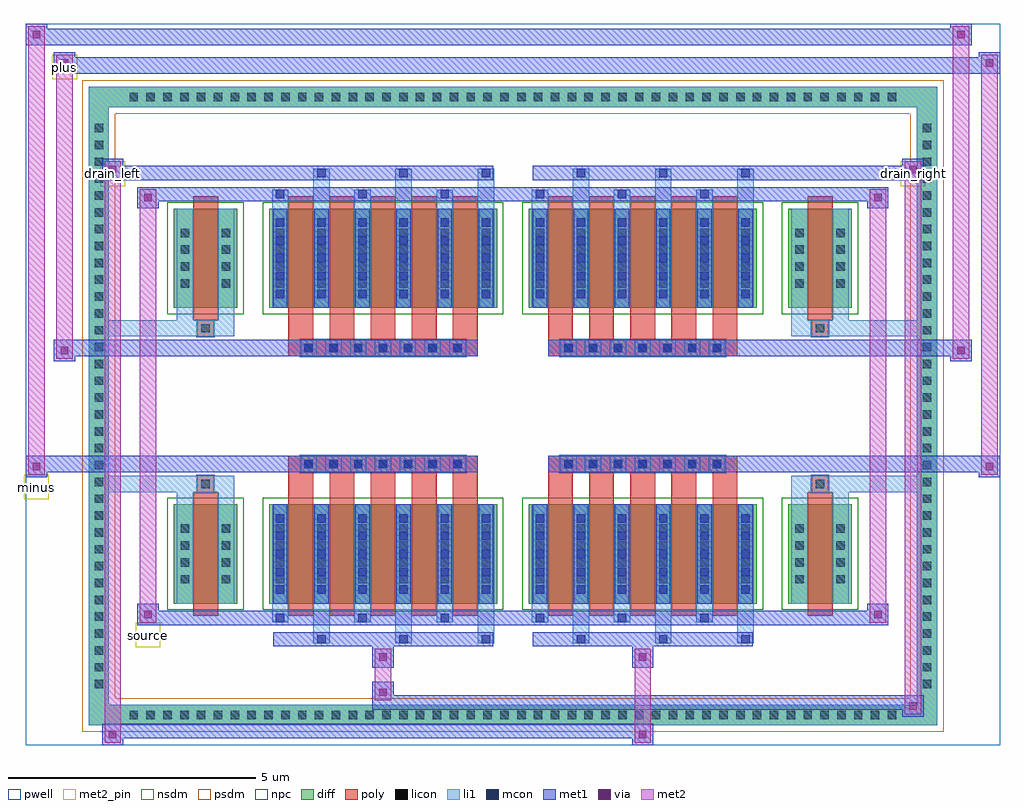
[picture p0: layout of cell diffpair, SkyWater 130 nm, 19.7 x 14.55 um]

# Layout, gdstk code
import gdstk
lib = gdstk.Library(unit=1e-6, precision=5e-09)
def R(c, l, rs):  # rectangles x0, y0, x1, y1
    for r in rs: c.add(gdstk.rectangle(r[:2], r[2:], *l))
def A(c, l, x, y, w, h, nx, ny, dx, dy):  # array of equal rectangles
    R(c, l, [(x+i*dx, y+j*dy, x+i*dx+w, y+j*dy+h) for i in range(nx) for j in range(ny)])
def P(c, l, *ps):  # polygons
    for p in ps: c.add(gdstk.Polygon(p, *l))
pwell = (64, 44)
diff = (65, 20)
poly = (66, 20)
licon = (66, 44)
li1 = (67, 20)
mcon = (67, 44)
met1 = (68, 20)
via = (68, 44)
met2_pin = (69, 16)
met2 = (69, 20)
nsdm = (93, 44)
psdm = (94, 20)
npc = (95, 20)

diffpair = lib.new_cell('diffpair')
R(diffpair, pwell, [(-9.83,-6.84,9.83,7.71), (-7.15,-5.03,-0.01,-0.805), (0.01,-5.03,7.15,-0.805), (-7.15,0.805,-0.01,5.03), (0.01,0.805,7.15,5.03)])
A(diffpair, diff, -7.855, -6.44, 0.41, 0.41, 46, 2, 0.34, 12.47)
A(diffpair, diff, -8.56, -5.815, 0.41, 0.41, 1, 34, 0, 0.34)
A(diffpair, diff, 8.15, -5.815, 0.41, 0.41, 1, 34, 0, 0.34)
R(diffpair, diff, [(-7.855,-6.44,7.855,-6.03), (-8.56,-5.815,-8.15,5.815), (8.15,-5.815,8.56,5.815), (-6.84,-3.985,-5.56,-1.985), (-4.92,-3.985,-0.32,-1.985), (0.32,-3.985,4.92,-1.985), (5.56,-3.985,6.84,-1.985), (-6.84,1.985,-5.56,3.985), (-4.92,1.985,-0.32,3.985), (0.32,1.985,4.92,3.985), (5.56,1.985,6.84,3.985), (-7.855,6.03,7.855,6.44)])
P(diffpair, diff, [(8.56,6.44),(-8.56,6.44),(-8.56,-6.03),(-8.15,-6.03),(-8.15,6.03),(8.15,6.03),(8.15,-6.03),(-8.15,-6.03),(-8.56,-6.03),(-8.56,-6.44),(8.56,-6.44)])
A(diffpair, poly, -4.53, -4.235, 0.5, 2.5, 5, 2, 0.83, 5.97)
A(diffpair, poly, 0.71, -4.235, 0.5, 2.5, 5, 2, 0.83, 5.97)
A(diffpair, poly, -4.53, -1.735, 0.5, 0.4, 5, 2, 0.83, 3.07)
A(diffpair, poly, 0.71, -1.735, 0.5, 0.4, 5, 2, 0.83, 3.07)
A(diffpair, poly, -4.285, -1.335, 0.33, 0.33, 7, 2, 0.5, 2.34)
A(diffpair, poly, 0.955, -1.335, 0.33, 0.33, 7, 2, 0.5, 2.34)
R(diffpair, poly, [(-6.45,-4.235,-5.95,-1.735), (5.95,-4.235,6.45,-1.735), (-6.365,-1.735,-6.035,-1.405), (-6.365,-1.735,-6.035,-1.405), (6.035,-1.735,6.365,-1.405), (6.035,-1.735,6.365,-1.405), (-4.53,-1.335,-0.71,-1.005), (0.71,-1.335,4.53,-1.005), (-4.53,1.005,-0.71,1.335), (0.71,1.005,4.53,1.335), (-6.365,1.405,-6.035,1.735), (-6.365,1.405,-6.035,1.735), (6.035,1.405,6.365,1.735), (6.035,1.405,6.365,1.735), (-6.45,1.735,-5.95,4.235), (5.95,1.735,6.45,4.235)])
A(diffpair, licon, -7.735, -6.32, 0.17, 0.17, 46, 2, 0.34, 12.47)
A(diffpair, licon, -8.44, -5.695, 0.17, 0.17, 1, 34, 0, 0.34)
A(diffpair, licon, 8.27, -5.695, 0.17, 0.17, 1, 34, 0, 0.34)
A(diffpair, licon, -6.7, -3.58, 0.17, 0.17, 1, 4, 0, 0.34)
A(diffpair, licon, -5.87, -3.58, 0.17, 0.17, 1, 4, 0, 0.34)
A(diffpair, licon, -4.78, -3.58, 0.17, 0.17, 6, 4, 0.83, 0.34)
A(diffpair, licon, 0.46, -3.58, 0.17, 0.17, 6, 4, 0.83, 0.34)
A(diffpair, licon, 5.7, -3.58, 0.17, 0.17, 1, 4, 0, 0.34)
A(diffpair, licon, 6.53, -3.58, 0.17, 0.17, 1, 4, 0, 0.34)
A(diffpair, licon, -4.205, -1.255, 0.17, 0.17, 7, 2, 0.5, 2.34)
A(diffpair, licon, 1.035, -1.255, 0.17, 0.17, 7, 2, 0.5, 2.34)
A(diffpair, licon, -6.7, 2.39, 0.17, 0.17, 1, 4, 0, 0.34)
A(diffpair, licon, -5.87, 2.39, 0.17, 0.17, 1, 4, 0, 0.34)
A(diffpair, licon, -4.78, 2.39, 0.17, 0.17, 6, 4, 0.83, 0.34)
A(diffpair, licon, 0.46, 2.39, 0.17, 0.17, 6, 4, 0.83, 0.34)
A(diffpair, licon, 5.7, 2.39, 0.17, 0.17, 1, 4, 0, 0.34)
A(diffpair, licon, 6.53, 2.39, 0.17, 0.17, 1, 4, 0, 0.34)
R(diffpair, licon, [(-6.285,-1.655,-6.115,-1.485), (6.115,-1.655,6.285,-1.485), (-6.285,1.485,-6.115,1.655), (6.115,1.485,6.285,1.655)])
A(diffpair, li1, -7.815, -6.4, 0.33, 0.33, 46, 2, 0.34, 12.47)
A(diffpair, li1, -8.52, -5.775, 0.33, 0.33, 1, 34, 0, 0.34)
A(diffpair, li1, 8.19, -5.775, 0.33, 0.33, 1, 34, 0, 0.34)
A(diffpair, li1, -4.03, -4.79, 0.33, 0.805, 3, 2, 1.66, 8.775)
A(diffpair, li1, -3.95, -4.79, 0.17, 0.17, 3, 2, 1.66, 9.41)
A(diffpair, li1, 1.21, -4.79, 0.33, 0.805, 3, 2, 1.66, 8.775)
A(diffpair, li1, 1.29, -4.79, 0.17, 0.17, 3, 2, 1.66, 9.41)
A(diffpair, li1, -4.86, -4.36, 0.33, 0.375, 3, 2, 1.66, 8.345)
A(diffpair, li1, -4.78, -4.36, 0.17, 0.17, 3, 2, 1.66, 8.55)
A(diffpair, li1, 0.38, -4.36, 0.33, 0.375, 3, 2, 1.66, 8.345)
A(diffpair, li1, 0.46, -4.36, 0.17, 0.17, 3, 2, 1.66, 8.55)
A(diffpair, li1, -4.86, -3.985, 0.33, 2, 6, 2, 0.83, 5.97)
A(diffpair, li1, 0.38, -3.985, 0.33, 2, 6, 2, 0.83, 5.97)
A(diffpair, li1, -4.78, -3.79, 0.17, 0.17, 6, 5, 0.83, 0.36)
A(diffpair, li1, -4.78, -3.79, 0.17, 1.61, 6, 2, 0.83, 5.97)
A(diffpair, li1, 0.46, -3.79, 0.17, 0.17, 6, 5, 0.83, 0.36)
A(diffpair, li1, 0.46, -3.79, 0.17, 1.61, 6, 2, 0.83, 5.97)
A(diffpair, li1, -6.78, -3.66, 0.33, 0.33, 1, 4, 0, 0.34)
A(diffpair, li1, -5.95, -3.66, 0.33, 0.33, 1, 4, 0, 0.34)
A(diffpair, li1, -4.86, -3.66, 0.33, 0.33, 6, 4, 0.83, 0.34)
A(diffpair, li1, 0.38, -3.66, 0.33, 0.33, 6, 4, 0.83, 0.34)
A(diffpair, li1, 5.62, -3.66, 0.33, 0.33, 1, 4, 0, 0.34)
A(diffpair, li1, 6.45, -3.66, 0.33, 0.33, 1, 4, 0, 0.34)
A(diffpair, li1, -4.285, -1.335, 0.33, 0.33, 7, 2, 0.5, 2.34)
A(diffpair, li1, 0.955, -1.335, 0.33, 0.33, 7, 2, 0.5, 2.34)
A(diffpair, li1, -4.78, 2.18, 0.17, 0.17, 6, 5, 0.83, 0.36)
A(diffpair, li1, 0.46, 2.18, 0.17, 0.17, 6, 5, 0.83, 0.36)
A(diffpair, li1, -6.78, 2.31, 0.33, 0.33, 1, 4, 0, 0.34)
A(diffpair, li1, -5.95, 2.31, 0.33, 0.33, 1, 4, 0, 0.34)
A(diffpair, li1, -4.86, 2.31, 0.33, 0.33, 6, 4, 0.83, 0.34)
A(diffpair, li1, 0.38, 2.31, 0.33, 0.33, 6, 4, 0.83, 0.34)
A(diffpair, li1, 5.62, 2.31, 0.33, 0.33, 1, 4, 0, 0.34)
A(diffpair, li1, 6.45, 2.31, 0.33, 0.33, 1, 4, 0, 0.34)
R(diffpair, li1, [(-8.56,-6.44,-8.15,-6.03), (-8.56,-6.44,-8.15,-6.03), (-8.15,-6.44,8.15,-6.03), (8.15,-6.44,8.56,-6.03), (8.15,-6.44,8.56,-6.03), (-8.56,-6.03,-8.15,6.03), (8.15,-6.03,8.56,6.03), (-6.78,-3.985,-6.45,-1.985), (-5.95,-3.985,-5.62,-1.985), (5.62,-3.985,5.95,-1.985), (6.45,-3.985,6.78,-1.985), (-6.78,-1.985,-6.45,-1.405), (-5.95,-1.985,-5.62,-1.405), (5.62,-1.985,5.95,-1.405), (6.45,-1.985,6.78,-1.405), (-8.56,-1.735,-6.365,-1.405), (-6.78,-1.735,-6.365,-1.405), (-6.365,-1.735,-6.035,-1.405), (-6.035,-1.735,-5.62,-1.405), (5.62,-1.735,6.035,-1.405), (6.035,-1.735,6.365,-1.405), (6.035,-1.735,8.56,-1.405), (6.365,-1.735,6.78,-1.405), (-8.56,1.405,-6.365,1.735), (-6.78,1.405,-6.365,1.735), (-6.78,1.405,-6.45,1.985), (-6.365,1.405,-6.035,1.735), (-6.035,1.405,-5.62,1.735), (-5.95,1.405,-5.62,1.985), (5.62,1.405,6.035,1.735), (5.62,1.405,5.95,1.985), (6.035,1.405,6.365,1.735), (6.035,1.405,8.56,1.735), (6.365,1.405,6.78,1.735), (6.45,1.405,6.78,1.985), (-6.78,1.985,-6.45,3.985), (-5.95,1.985,-5.62,3.985), (5.62,1.985,5.95,3.985), (6.45,1.985,6.78,3.985), (-8.56,6.03,-8.15,6.44), (-8.56,6.03,-8.15,6.44), (-8.15,6.03,8.15,6.44), (8.15,6.03,8.56,6.44), (8.15,6.03,8.56,6.44)])
A(diffpair, mcon, -3.95, -4.79, 0.17, 0.17, 3, 2, 1.66, 9.41)
A(diffpair, mcon, 1.29, -4.79, 0.17, 0.17, 3, 2, 1.66, 9.41)
A(diffpair, mcon, -4.78, -4.36, 0.17, 0.17, 3, 2, 1.66, 8.55)
A(diffpair, mcon, 0.46, -4.36, 0.17, 0.17, 3, 2, 1.66, 8.55)
A(diffpair, mcon, -4.78, -3.79, 0.17, 0.17, 6, 5, 0.83, 0.36)
A(diffpair, mcon, 0.46, -3.79, 0.17, 0.17, 6, 5, 0.83, 0.36)
A(diffpair, mcon, -4.205, -1.255, 0.17, 0.17, 7, 2, 0.5, 2.34)
A(diffpair, mcon, 1.035, -1.255, 0.17, 0.17, 7, 2, 0.5, 2.34)
A(diffpair, mcon, -4.78, 2.18, 0.17, 0.17, 6, 5, 0.83, 0.36)
A(diffpair, mcon, 0.46, 2.18, 0.17, 0.17, 6, 5, 0.83, 0.36)
A(diffpair, met1, -4.01, -4.85, 0.29, 0.29, 3, 2, 1.66, 9.41)
A(diffpair, met1, 1.23, -4.85, 0.29, 0.29, 3, 2, 1.66, 9.41)
A(diffpair, met1, -4.84, -4.42, 0.29, 0.29, 3, 2, 1.66, 8.55)
A(diffpair, met1, 0.4, -4.42, 0.29, 0.29, 3, 2, 1.66, 8.55)
A(diffpair, met1, -4.84, -3.985, 0.29, 2, 6, 2, 0.83, 5.97)
A(diffpair, met1, 0.4, -3.985, 0.29, 2, 6, 2, 0.83, 5.97)
A(diffpair, met1, -4.84, -3.85, 0.29, 0.29, 6, 5, 0.83, 0.36)
A(diffpair, met1, 0.4, -3.85, 0.29, 0.29, 6, 5, 0.83, 0.36)
A(diffpair, met1, -4.265, -1.315, 0.29, 0.29, 7, 2, 0.5, 2.34)
A(diffpair, met1, 0.975, -1.315, 0.29, 0.29, 7, 2, 0.5, 2.34)
A(diffpair, met1, -4.84, 2.12, 0.29, 0.29, 6, 5, 0.83, 0.36)
A(diffpair, met1, 0.4, 2.12, 0.29, 0.29, 6, 5, 0.83, 0.36)
R(diffpair, met1, [(-8.29,-6.84,-7.86,-6.41), (2.405,-6.84,2.835,-6.41), (-8.29,-6.7,2.835,-6.41), (7.86,-6.27,8.29,-5.84), (-2.835,-6.13,8.29,-5.84), (-2.835,-5.99,-2.405,-5.56), (-2.835,-5.28,-2.405,-4.85), (2.405,-5.28,2.835,-4.85), (-4.84,-4.85,-0.4,-4.56), (0.4,-4.85,4.84,-4.56), (-7.58,-4.42,-7.15,-3.99), (-7.58,-4.42,-4.84,-4.13), (-4.84,-4.42,-0.4,-4.13), (-0.4,-4.42,0.4,-4.13), (0.4,-4.42,4.84,-4.13), (4.84,-4.42,7.58,-4.13), (7.15,-4.42,7.58,-3.99), (-9.83,-1.435,-9.4,-1.005), (9.4,-1.435,9.83,-1.005), (-9.83,-1.335,-0.71,-1.005), (-4.53,-1.335,-0.71,-1.005), (0.71,-1.335,4.53,-1.005), (0.71,-1.335,9.83,-1.005), (-9.26,0.905,-8.83,1.335), (8.83,0.905,9.26,1.335), (-9.26,1.005,-4.53,1.335), (-4.53,1.005,-0.71,1.335), (0.71,1.005,4.53,1.335), (4.53,1.005,9.26,1.335), (-7.58,3.99,-7.15,4.42), (7.15,3.99,7.58,4.42), (-7.58,4.13,-4.84,4.42), (-4.84,4.13,-0.4,4.42), (-0.4,4.13,0.4,4.42), (0.4,4.13,4.84,4.42), (4.84,4.13,7.58,4.42), (-8.29,4.56,-7.86,4.99), (-8.29,4.56,-4.84,4.85), (-4.84,4.56,-0.4,4.85), (0.4,4.56,4.84,4.85), (4.84,4.56,8.29,4.85), (7.86,4.56,8.29,4.99), (-9.26,6.71,-8.83,7.14), (-9.26,6.71,-7.15,7.04), (-7.15,6.71,7.15,7.04), (7.15,6.71,9.83,7.04), (9.4,6.71,9.83,7.14), (-9.83,7.28,-9.4,7.71), (-9.83,7.28,-7.15,7.61), (-7.15,7.28,7.15,7.61), (7.15,7.28,9.26,7.61), (8.83,7.28,9.26,7.71)])
R(diffpair, via, [(-8.15,-6.7,-8,-6.55), (2.545,-6.7,2.695,-6.55), (8,-6.13,8.15,-5.98), (-2.695,-5.85,-2.545,-5.7), (-2.695,-5.14,-2.545,-4.99), (2.545,-5.14,2.695,-4.99), (-7.44,-4.28,-7.29,-4.13), (7.29,-4.28,7.44,-4.13), (-9.69,-1.295,-9.54,-1.145), (9.54,-1.295,9.69,-1.145), (-9.12,1.045,-8.97,1.195), (8.97,1.045,9.12,1.195), (-7.44,4.13,-7.29,4.28), (7.29,4.13,7.44,4.28), (-8.15,4.7,-8,4.85), (8,4.7,8.15,4.85), (-9.12,6.85,-8.97,7), (9.54,6.85,9.69,7), (-9.69,7.42,-9.54,7.57), (8.97,7.42,9.12,7.57)])
R(diffpair, met2_pin, [(-7.615,-4.87,-7.115,-4.37), (-9.865,-1.885,-9.365,-1.385), (-8.325,4.44,-7.825,4.94), (7.825,4.44,8.325,4.94), (-9.295,6.59,-8.795,7.09)])
R(diffpair, met2, [(-8.24,-6.79,-7.91,-6.46), (-8.24,-6.79,-7.91,4.94), (2.455,-6.79,2.785,-6.46), (2.455,-6.46,2.785,-5.23), (7.91,-6.22,8.24,-5.89), (7.91,-6.22,8.24,4.94), (-2.785,-5.94,-2.455,-5.61), (-2.785,-5.61,-2.455,-5.23), (-2.785,-5.23,-2.455,-4.9), (2.455,-5.23,2.785,-4.9), (-7.53,-4.37,-7.2,-4.04), (-7.53,-4.37,-7.2,4.37), (7.2,-4.37,7.53,-4.04), (7.2,-4.37,7.53,4.37), (-9.78,-1.385,-9.45,-1.055), (-9.78,-1.385,-9.45,7.66), (9.45,-1.385,9.78,-1.055), (9.45,-1.385,9.78,7.09), (-9.21,0.955,-8.88,1.285), (-9.21,0.955,-8.88,7.09), (8.88,0.955,9.21,1.285), (8.88,0.955,9.21,7.66), (-7.53,4.04,-7.2,4.37), (7.2,4.04,7.53,4.37), (-8.24,4.61,-7.91,4.94), (7.91,4.61,8.24,4.94), (-9.21,6.76,-8.88,7.09), (9.45,6.76,9.78,7.09), (-9.78,7.33,-9.45,7.66), (8.88,7.33,9.21,7.66)])
P(diffpair, met2, [(9.78,-1.385),(9.78,-1.385),(9.78,-1.055),(9.78,-1.055)],
  [(9.78,6.76),(9.78,6.76),(9.78,7.09),(9.78,7.09)],
  [(-9.45,-1.385),(-9.45,-1.385),(-9.45,-1.055),(-9.45,-1.055)],
  [(-9.45,7.33),(-9.45,7.33),(-9.45,7.66),(-9.45,7.66)],
  [(9.21,0.955),(9.21,0.955),(9.21,1.285),(9.21,1.285)],
  [(9.21,7.33),(9.21,7.33),(9.21,7.66),(9.21,7.66)],
  [(-8.88,0.955),(-8.88,0.955),(-8.88,1.285),(-8.88,1.285)],
  [(-8.88,6.76),(-8.88,6.76),(-8.88,7.09),(-8.88,7.09)],
  [(-7.91,-6.79),(-7.91,-6.79),(-7.91,-6.46),(-7.91,-6.46)],
  [(-7.91,4.61),(-7.91,4.61),(-7.91,4.94),(-7.91,4.94)],
  [(8.24,-6.22),(8.24,-6.22),(8.24,-5.89),(8.24,-5.89)],
  [(8.24,4.61),(8.24,4.61),(8.24,4.94),(8.24,4.94)],
  [(-7.2,-4.37),(-7.2,-4.37),(-7.2,-4.04),(-7.2,-4.04)],
  [(-7.2,4.04),(-7.2,4.04),(-7.2,4.37),(-7.2,4.37)],
  [(7.53,-4.37),(7.53,-4.37),(7.53,-4.04),(7.53,-4.04)],
  [(7.53,4.04),(7.53,4.04),(7.53,4.37),(7.53,4.37)])
R(diffpair, nsdm, [(-6.97,-4.115,-5.43,-1.855), (-5.05,-4.115,-0.19,-1.855), (0.19,-4.115,5.05,-1.855), (5.43,-4.115,6.97,-1.855), (-6.97,1.855,-5.43,4.115), (-5.05,1.855,-0.19,4.115), (0.19,1.855,5.05,4.115), (5.43,1.855,6.97,4.115)])
P(diffpair, psdm, [(8.69,6.57),(-8.69,6.57),(-8.69,-5.9),(-8.02,-5.9),(-8.02,5.9),(8.02,5.9),(8.02,-5.9),(-8.02,-5.9),(-8.69,-5.9),(-8.69,-6.57),(8.69,-6.57)])
A(diffpair, npc, -4.305, -1.355, 0.37, 0.37, 7, 2, 0.5, 2.34)
A(diffpair, npc, 0.935, -1.355, 0.37, 0.37, 7, 2, 0.5, 2.34)
R(diffpair, npc, [(-6.385,-1.755,-6.015,-1.385), (6.015,-1.755,6.385,-1.385), (-4.305,-1.355,-3.435,-0.985), (-4.305,-1.355,-3.435,-0.985), (-3.805,-1.355,-2.935,-0.985), (-3.805,-1.355,-2.935,-0.985), (-3.305,-1.355,-2.435,-0.985), (-3.305,-1.355,-2.435,-0.985), (-2.805,-1.355,-1.935,-0.985), (-2.805,-1.355,-1.935,-0.985), (-2.305,-1.355,-1.435,-0.985), (-2.305,-1.355,-1.435,-0.985), (-1.805,-1.355,-0.935,-0.985), (-1.805,-1.355,-0.935,-0.985), (0.935,-1.355,1.805,-0.985), (0.935,-1.355,1.805,-0.985), (1.435,-1.355,2.305,-0.985), (1.435,-1.355,2.305,-0.985), (1.935,-1.355,2.805,-0.985), (1.935,-1.355,2.805,-0.985), (2.435,-1.355,3.305,-0.985), (2.435,-1.355,3.305,-0.985), (2.935,-1.355,3.805,-0.985), (2.935,-1.355,3.805,-0.985), (3.435,-1.355,4.305,-0.985), (3.435,-1.355,4.305,-0.985), (-4.305,0.985,-3.435,1.355), (-4.305,0.985,-3.435,1.355), (-3.805,0.985,-2.935,1.355), (-3.805,0.985,-2.935,1.355), (-3.305,0.985,-2.435,1.355), (-3.305,0.985,-2.435,1.355), (-2.805,0.985,-1.935,1.355), (-2.805,0.985,-1.935,1.355), (-2.305,0.985,-1.435,1.355), (-2.305,0.985,-1.435,1.355), (-1.805,0.985,-0.935,1.355), (-1.805,0.985,-0.935,1.355), (0.935,0.985,1.805,1.355), (0.935,0.985,1.805,1.355), (1.435,0.985,2.305,1.355), (1.435,0.985,2.305,1.355), (1.935,0.985,2.805,1.355), (1.935,0.985,2.805,1.355), (2.435,0.985,3.305,1.355), (2.435,0.985,3.305,1.355), (2.935,0.985,3.805,1.355), (2.935,0.985,3.805,1.355), (3.435,0.985,4.305,1.355), (3.435,0.985,4.305,1.355), (-6.385,1.385,-6.015,1.755), (6.015,1.385,6.385,1.755)])
diffpair.add(gdstk.Label('minus', (-9.615,-1.635), layer=69, texttype=5))
diffpair.add(gdstk.Label('drain_right', (8.075,4.69), layer=69, texttype=5))
diffpair.add(gdstk.Label('drain_left', (-8.075,4.69), layer=69, texttype=5))
diffpair.add(gdstk.Label('source', (-7.365,-4.62), layer=69, texttype=5))
diffpair.add(gdstk.Label('plus', (-9.045,6.84), layer=69, texttype=5))

lib.write_gds('diffpair.gds')
